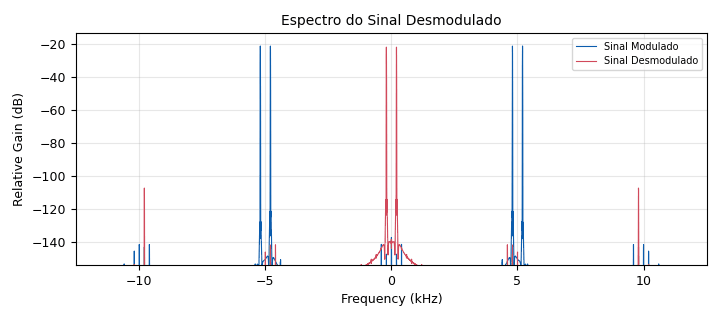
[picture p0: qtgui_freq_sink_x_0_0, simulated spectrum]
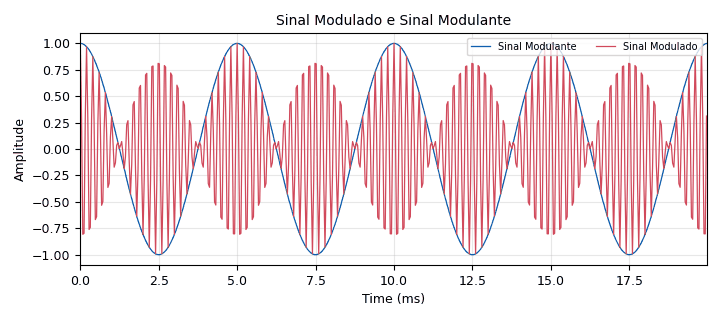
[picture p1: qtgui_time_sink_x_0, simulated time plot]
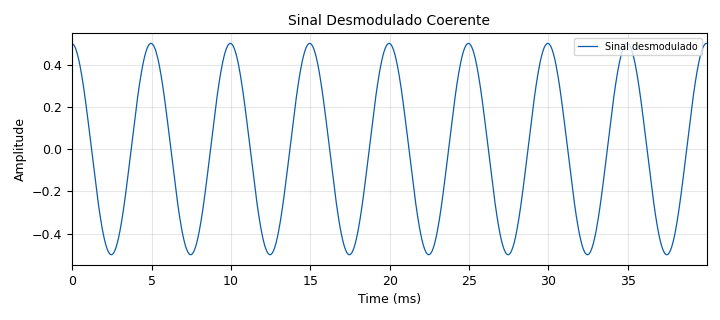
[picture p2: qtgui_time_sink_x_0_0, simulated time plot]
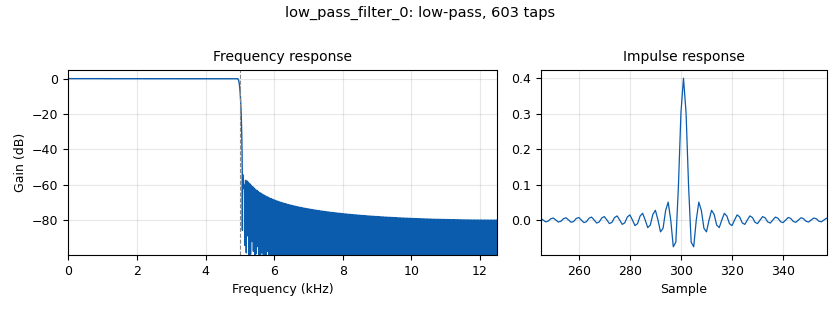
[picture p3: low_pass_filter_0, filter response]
<?xml version='1.0' encoding='utf-8'?>
<?grc format='1' created='3.7.13'?>
<flow_graph>
<block>
<key>options</key>
<param><key>id</key><value>Labo3_2</value></param>
<param><key>category</key><value>Custom</value></param>
<param><key>generate_options</key><value>qt_gui</value></param>
<param><key>title</key><value>Desmodulação síncrona de AM-DSB-SC</value></param>
</block>
<block>
<key>variable_qtgui_range</key>
<param><key>id</key><value>A</value></param>
<param><key>value</key><value>0</value></param>
<param><key>gui_hint</key><value>2,0,1,1</value></param>
<param><key>label</key><value>Amp. Portadora</value></param>
<param><key>orient</key><value>Qt.Horizontal</value></param>
<param><key>start</key><value>0</value></param>
<param><key>step</key><value>0.1</value></param>
<param><key>stop</key><value>3</value></param>
</block>
<block>
<key>variable</key>
<param><key>id</key><value>samp_rate</value></param>
<param><key>value</key><value>25000</value></param>
</block>
<block>
<key>analog_const_source_x</key>
<param><key>id</key><value>Amplitude_Portadora</value></param>
<param><key>const</key><value>A</value></param>
<param><key>type</key><value>float</value></param>
</block>
<block>
<key>analog_sig_source_x</key>
<param><key>id</key><value>Portadora</value></param>
<param><key>amp</key><value>1</value></param>
<param><key>freq</key><value>5000</value></param>
<param><key>offset</key><value>0</value></param>
<param><key>type</key><value>float</value></param>
<param><key>samp_rate</key><value>samp_rate</value></param>
<param><key>waveform</key><value>analog.GR_COS_WAVE</value></param>
</block>
<block>
<key>analog_sig_source_x</key>
<param><key>id</key><value>Portadora_0</value></param>
<param><key>amp</key><value>1</value></param>
<param><key>freq</key><value>5000</value></param>
<param><key>offset</key><value>0</value></param>
<param><key>type</key><value>float</value></param>
<param><key>samp_rate</key><value>samp_rate</value></param>
<param><key>waveform</key><value>analog.GR_COS_WAVE</value></param>
</block>
<block>
<key>analog_sig_source_x</key>
<param><key>id</key><value>Sinal_Modulante</value></param>
<param><key>amp</key><value>1</value></param>
<param><key>freq</key><value>200</value></param>
<param><key>offset</key><value>0</value></param>
<param><key>type</key><value>float</value></param>
<param><key>samp_rate</key><value>samp_rate</value></param>
<param><key>waveform</key><value>analog.GR_COS_WAVE</value></param>
</block>
<block>
<key>blocks_add_xx</key>
<param><key>id</key><value>blocks_add_xx_0</value></param>
<param><key>type</key><value>float</value></param>
</block>
<block>
<key>blocks_delay</key>
<param><key>id</key><value>blocks_delay_0</value></param>
<param><key>delay</key><value>0</value></param>
<param><key>type</key><value>float</value></param>
</block>
<block>
<key>blocks_multiply_xx</key>
<param><key>id</key><value>blocks_multiply_xx_0</value></param>
<param><key>type</key><value>float</value></param>
</block>
<block>
<key>blocks_multiply_xx</key>
<param><key>id</key><value>blocks_multiply_xx_0_0</value></param>
<param><key>type</key><value>float</value></param>
</block>
<block>
<key>blocks_throttle</key>
<param><key>id</key><value>blocks_throttle_0</value></param>
<param><key>samples_per_second</key><value>samp_rate</value></param>
<param><key>type</key><value>float</value></param>
</block>
<block>
<key>dc_blocker_xx</key>
<param><key>id</key><value>dc_blocker_xx_0</value></param>
<param><key>length</key><value>600</value></param>
<param><key>long_form</key><value>True</value></param>
<param><key>type</key><value>ff</value></param>
</block>
<block>
<key>low_pass_filter</key>
<param><key>id</key><value>low_pass_filter_0</value></param>
<param><key>cutoff_freq</key><value>5000</value></param>
<param><key>decim</key><value>1</value></param>
<param><key>type</key><value>fir_filter_fff</value></param>
<param><key>gain</key><value>1</value></param>
<param><key>samp_rate</key><value>samp_rate</value></param>
<param><key>width</key><value>100</value></param>
<param><key>win</key><value>firdes.WIN_HAMMING</value></param>
</block>
<block>
<key>qtgui_freq_sink_x</key>
<param><key>id</key><value>qtgui_freq_sink_x_0_0</value></param>
<param><key>autoscale</key><value>True</value></param>
<param><key>bw</key><value>samp_rate</value></param>
<param><key>fc</key><value>0</value></param>
<param><key>fftsize</key><value>2**13</value></param>
<param><key>gui_hint</key><value>0,1,1,1</value></param>
<param><key>grid</key><value>True</value></param>
<param><key>label1</key><value>Sinal Modulado</value></param>
<param><key>label2</key><value>Sinal Desmodulado</value></param>
<param><key>name</key><value>Espectro do Sinal Desmodulado</value></param>
<param><key>nconnections</key><value>2</value></param>
<param><key>showports</key><value>True</value></param>
<param><key>type</key><value>float</value></param>
<param><key>wintype</key><value>firdes.WIN_BLACKMAN_hARRIS</value></param>
</block>
<block>
<key>qtgui_time_sink_x</key>
<param><key>id</key><value>qtgui_time_sink_x_0</value></param>
<param><key>autoscale</key><value>True</value></param>
<param><key>gui_hint</key><value>0,0,1,1</value></param>
<param><key>grid</key><value>True</value></param>
<param><key>color1</key><value>"blue"</value></param>
<param><key>label1</key><value>Sinal Modulante</value></param>
<param><key>color2</key><value>"red"</value></param>
<param><key>label2</key><value>Sinal Modulado</value></param>
<param><key>name</key><value>Sinal Modulado e Sinal Modulante</value></param>
<param><key>nconnections</key><value>2</value></param>
<param><key>size</key><value>500</value></param>
<param><key>srate</key><value>samp_rate</value></param>
<param><key>tr_level</key><value>1</value></param>
<param><key>type</key><value>float</value></param>
<param><key>ymax</key><value>3</value></param>
<param><key>ymin</key><value>-3</value></param>
</block>
<block>
<key>qtgui_time_sink_x</key>
<param><key>id</key><value>qtgui_time_sink_x_0_0</value></param>
<param><key>autoscale</key><value>True</value></param>
<param><key>grid</key><value>True</value></param>
<param><key>color1</key><value>"blue"</value></param>
<param><key>label1</key><value>Sinal desmodulado</value></param>
<param><key>name</key><value>Sinal Desmodulado Coerente</value></param>
<param><key>size</key><value>1000</value></param>
<param><key>srate</key><value>samp_rate</value></param>
<param><key>tr_level</key><value>1</value></param>
<param><key>type</key><value>float</value></param>
</block>
<connection><source_block_id>Amplitude_Portadora</source_block_id><sink_block_id>blocks_add_xx_0</sink_block_id><source_key>0</source_key><sink_key>1</sink_key></connection>
<connection><source_block_id>Portadora</source_block_id><sink_block_id>blocks_throttle_0</sink_block_id><source_key>0</source_key><sink_key>0</sink_key></connection>
<connection><source_block_id>Portadora_0</source_block_id><sink_block_id>blocks_delay_0</sink_block_id><source_key>0</source_key><sink_key>0</sink_key></connection>
<connection><source_block_id>Sinal_Modulante</source_block_id><sink_block_id>blocks_add_xx_0</sink_block_id><source_key>0</source_key><sink_key>0</sink_key></connection>
<connection><source_block_id>Sinal_Modulante</source_block_id><sink_block_id>qtgui_time_sink_x_0</sink_block_id><source_key>0</source_key><sink_key>0</sink_key></connection>
<connection><source_block_id>blocks_add_xx_0</source_block_id><sink_block_id>blocks_multiply_xx_0</sink_block_id><source_key>0</source_key><sink_key>0</sink_key></connection>
<connection><source_block_id>blocks_delay_0</source_block_id><sink_block_id>blocks_multiply_xx_0_0</sink_block_id><source_key>0</source_key><sink_key>1</sink_key></connection>
<connection><source_block_id>blocks_multiply_xx_0</source_block_id><sink_block_id>blocks_multiply_xx_0_0</sink_block_id><source_key>0</source_key><sink_key>0</sink_key></connection>
<connection><source_block_id>blocks_multiply_xx_0</source_block_id><sink_block_id>qtgui_freq_sink_x_0_0</sink_block_id><source_key>0</source_key><sink_key>0</sink_key></connection>
<connection><source_block_id>blocks_multiply_xx_0</source_block_id><sink_block_id>qtgui_time_sink_x_0</sink_block_id><source_key>0</source_key><sink_key>1</sink_key></connection>
<connection><source_block_id>blocks_multiply_xx_0_0</source_block_id><sink_block_id>low_pass_filter_0</sink_block_id><source_key>0</source_key><sink_key>0</sink_key></connection>
<connection><source_block_id>blocks_throttle_0</source_block_id><sink_block_id>blocks_multiply_xx_0</sink_block_id><source_key>0</source_key><sink_key>1</sink_key></connection>
<connection><source_block_id>dc_blocker_xx_0</source_block_id><sink_block_id>qtgui_freq_sink_x_0_0</sink_block_id><source_key>0</source_key><sink_key>1</sink_key></connection>
<connection><source_block_id>dc_blocker_xx_0</source_block_id><sink_block_id>qtgui_time_sink_x_0_0</sink_block_id><source_key>0</source_key><sink_key>0</sink_key></connection>
<connection><source_block_id>low_pass_filter_0</source_block_id><sink_block_id>dc_blocker_xx_0</sink_block_id><source_key>0</source_key><sink_key>0</sink_key></connection>
</flow_graph>
